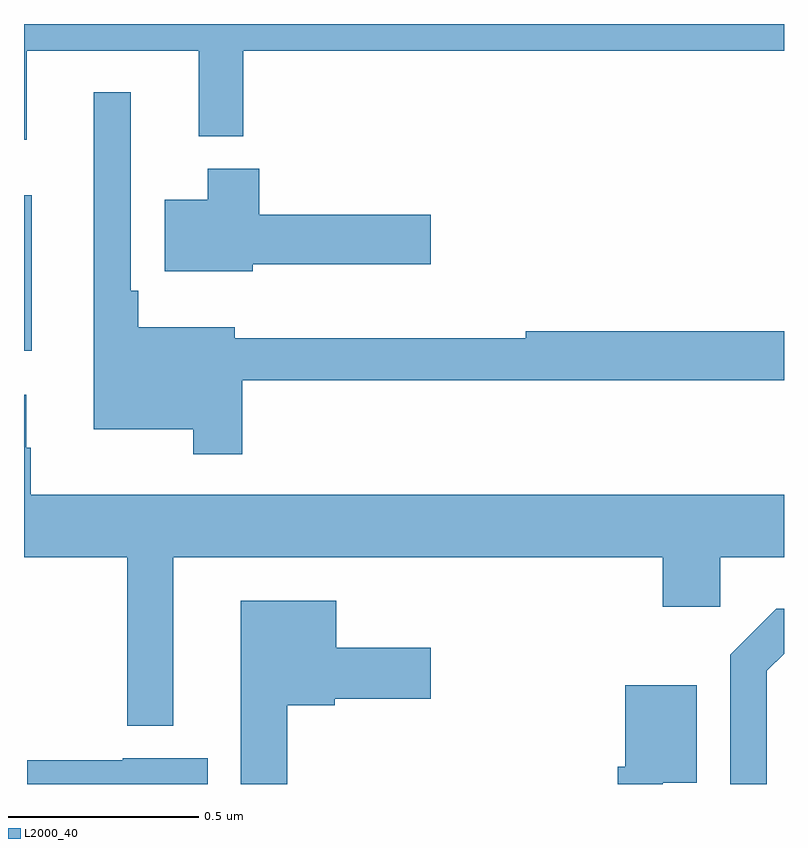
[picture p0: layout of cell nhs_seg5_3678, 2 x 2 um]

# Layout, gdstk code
import gdstk
lib = gdstk.Library(unit=1e-6, precision=1e-09)
def R(c, l, rs):  # rectangles x0, y0, x1, y1
    for r in rs: c.add(gdstk.rectangle(r[:2], r[2:], *l))
def P(c, l, *ps):  # polygons
    for p in ps: c.add(gdstk.Polygon(p, *l))
L2000_40 = (2000, 40)

nhs_seg5_3678 = lib.new_cell('nhs_seg5_3678')
R(nhs_seg5_3678, L2000_40, [(160,887.939,160.021,888.349)])
P(nhs_seg5_3678, L2000_40, [(160.007,888.728),(160.46,888.728),(160.46,888.503),(160.577,888.503),(160.577,888.728),(162,888.728),(162,888.799),(160,888.799),(160,888.495),(160.007,888.495)],
  [(160.574,887.862),(162,887.862),(162,887.99),(161.321,887.99),(161.321,887.972),(160.555,887.972),(160.555,888.001),(160.301,888.001),(160.301,888.097),(160.281,888.097),(160.281,888.619),(160.184,888.619),(160.184,887.732),(160.446,887.732),(160.446,887.667),(160.574,887.667)],
  [(160.602,888.167),(161.071,888.167),(161.071,888.297),(160.619,888.297),(160.619,888.418),(160.484,888.418),(160.484,888.337),(160.37,888.337),(160.37,888.149),(160.602,888.149)],
  [(160.393,887.396),(161.681,887.396),(161.681,887.265),(161.832,887.265),(161.832,887.396),(162,887.396),(162,887.56),(160.018,887.56),(160.018,887.684),(160.006,887.684),(160.006,887.824),(160,887.824),(160,887.396),(160.272,887.396),(160.272,886.952),(160.393,886.952)],
  [(160.693,887.006),(160.818,887.006),(160.818,887.024),(161.071,887.024),(161.071,887.158),(160.822,887.158),(160.822,887.281),(160.571,887.281),(160.571,886.799),(160.693,886.799)],
  [(161.955,887.097),(162,887.142),(162,887.26),(161.98,887.26),(161.859,887.139),(161.859,886.799),(161.955,886.799)],
  [(161.681,886.802),(161.77,886.802),(161.77,887.059),(161.582,887.059),(161.582,886.845),(161.563,886.845),(161.563,886.799),(161.681,886.799)],
  [(160.483,886.867),(160.26,886.867),(160.26,886.862),(160.008,886.862),(160.008,886.799),(160.483,886.799)])

lib.write_gds('nhs_seg5_3678.gds')
